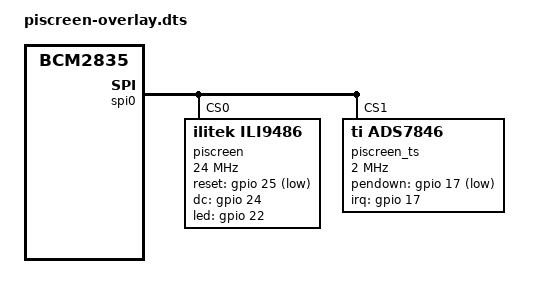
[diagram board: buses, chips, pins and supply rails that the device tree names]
/*
 * Device Tree overlay for PiScreen 3.5" display shield by Ozzmaker
 *
 */

/dts-v1/;
/plugin/;

#include <dt-bindings/gpio/gpio.h>

/ {
	compatible = "brcm,bcm2835";

	fragment@0 {
		target = <&spi0>;
		__overlay__ {
			status = "okay";
		};
	};

	fragment@1 {
		target = <&spidev0>;
		__overlay__ {
			status = "disabled";
		};
	};

	fragment@2 {
		target = <&spidev1>;
		__overlay__ {
			status = "disabled";
		};
	};

	fragment@3 {
		target = <&gpio>;
		__overlay__ {
			piscreen_pins: piscreen_pins {
				brcm,pins = <17 25 24 22>;
				brcm,function = <0 1 1 1>; /* in out out out */
			};
		};
	};

	fragment@4 {
		target = <&spi0>;
		__overlay__ {
			/* needed to avoid dtc warning */
			#address-cells = <1>;
			#size-cells = <0>;

			piscreen: piscreen@0{
				compatible = "ilitek,ili9486";
				reg = <0>;
				pinctrl-names = "default";
				pinctrl-0 = <&piscreen_pins>;

				spi-max-frequency = <24000000>;
				rotate = <270>;
				bgr;
				fps = <30>;
				buswidth = <8>;
				regwidth = <16>;
				reset-gpios = <&gpio 25 GPIO_ACTIVE_LOW>;
				dc-gpios = <&gpio 24 GPIO_ACTIVE_HIGH>;
				led-gpios = <&gpio 22 GPIO_ACTIVE_HIGH>;
				debug = <0>;

				init = <0x10000b0 0x00
				        0x1000011
					0x20000ff
					0x100003a 0x55
					0x1000036 0x28
					0x10000c2 0x44
					0x10000c5 0x00 0x00 0x00 0x00
					0x10000e0 0x0f 0x1f 0x1c 0x0c 0x0f 0x08 0x48 0x98 0x37 0x0a 0x13 0x04 0x11 0x0d 0x00
					0x10000e1 0x0f 0x32 0x2e 0x0b 0x0d 0x05 0x47 0x75 0x37 0x06 0x10 0x03 0x24 0x20 0x00
					0x10000e2 0x0f 0x32 0x2e 0x0b 0x0d 0x05 0x47 0x75 0x37 0x06 0x10 0x03 0x24 0x20 0x00
					0x1000011
					0x1000029>;
			};

			piscreen_ts: piscreen-ts@1 {
				compatible = "ti,ads7846";
				reg = <1>;

				spi-max-frequency = <2000000>;
				interrupts = <17 2>; /* high-to-low edge triggered */
				interrupt-parent = <&gpio>;
				pendown-gpio = <&gpio 17 GPIO_ACTIVE_LOW>;
				ti,swap-xy;
				ti,x-plate-ohms = /bits/ 16 <100>;
				ti,pressure-max = /bits/ 16 <255>;
			};
		};
	};
	__overrides__ {
		speed =		<&piscreen>,"spi-max-frequency:0";
		rotate =	<&piscreen>,"rotate:0",
				<&piscreen>,"rotation:0";
		fps =		<&piscreen>,"fps:0";
		debug =		<&piscreen>,"debug:0";
		xohms =		<&piscreen_ts>,"ti,x-plate-ohms;0";
		drm =		<&piscreen>,"compatible=waveshare,rpi-lcd-35",
				<&piscreen>,"reset-gpios:8=",<GPIO_ACTIVE_HIGH>;
		invx =		<&piscreen_ts>,"touchscreen-inverted-x?";
		invy =		<&piscreen_ts>,"touchscreen-inverted-y?";
		swapxy =	<&piscreen_ts>,"touchscreen-swapped-x-y!";
	};
};
